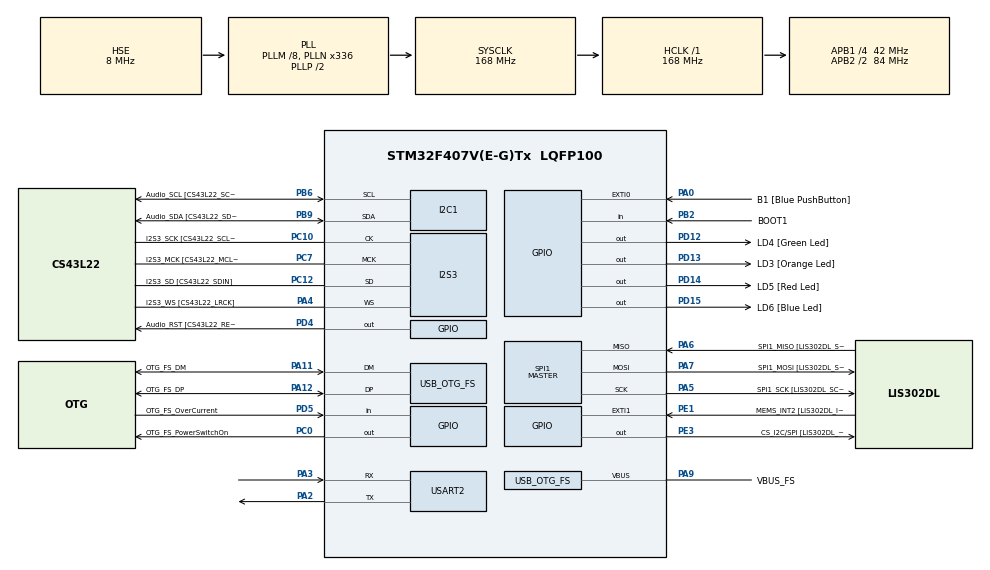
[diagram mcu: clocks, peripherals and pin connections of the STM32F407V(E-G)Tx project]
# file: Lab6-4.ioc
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FREERTOS.BinarySemaphores01=myBinarySem01,Dynamic,NULL
FREERTOS.Tasks01=defaultTask,0,128,StartDefaultTask,Default,NULL
I2S3.AudioFreq-Half_Duplex_Master=I2S_AUDIOFREQ_96K
I2S3.ErrorAudioFreq=-2.34 %
I2S3.ErrorAudioFreq-Half_Duplex_Master=0.8 %
I2S3.FullDuplexMode=I2S_FULLDUPLEXMODE_DISABLE
I2S3.Instance=SPI$Index
I2S3.RealAudioFreq=93.75 KHz
I2S3.RealAudioFreq-Half_Duplex_Master=96.774 KHz
I2S3.VirtualMode=I2S_MODE_MASTER
Mcu.Family=STM32F4
Mcu.Name=STM32F407V(E-G)Tx
Mcu.Package=LQFP100
NVIC.OTG_FS_IRQn=true\:5\:0\:false\:false\:true\:true\:true\:true
NVIC.PriorityGroup=NVIC_PRIORITYGROUP_4
PA0-WKUP.GPIO_Label=B1 [Blue PushButton]
PA0-WKUP.GPIO_ModeDefaultEXTI=GPIO_MODE_EVT_RISING
PA0-WKUP.GPIO_PuPd=GPIO_NOPULL
PA0-WKUP.Signal=GPXTI0
PA10.GPIO_Label=OTG_FS_ID
PA10.GPIO_Mode=GPIO_MODE_AF_PP
PA10.GPIO_PuPd=GPIO_NOPULL
PA10.GPIO_Speed=GPIO_SPEED_FREQ_LOW
PA10.Signal=USB_OTG_FS_ID
PA11.GPIO_Label=OTG_FS_DM
PA11.GPIO_Mode=GPIO_MODE_AF_PP
PA11.GPIO_PuPd=GPIO_NOPULL
PA11.GPIO_Speed=GPIO_SPEED_FREQ_LOW
PA11.Mode=Host_Only
PA11.Signal=USB_OTG_FS_DM
PA12.GPIO_Label=OTG_FS_DP
PA12.GPIO_Mode=GPIO_MODE_AF_PP
PA12.GPIO_PuPd=GPIO_NOPULL
PA12.GPIO_Speed=GPIO_SPEED_FREQ_LOW
PA12.Mode=Host_Only
PA12.Signal=USB_OTG_FS_DP
PA13.GPIO_Label=SWDIO
PA13.Mode=Serial_Wire
PA13.Signal=SYS_JTMS-SWDIO
PA14.GPIO_Label=SWCLK
PA14.Mode=Serial_Wire
PA14.Signal=SYS_JTCK-SWCLK
PA2.Mode=Asynchronous
PA2.Signal=USART2_TX
PA3.Mode=Asynchronous
PA3.Signal=USART2_RX
PA4.GPIO_Label=I2S3_WS [CS43L22_LRCK]
PA4.GPIO_Mode=GPIO_MODE_AF_PP
PA4.GPIO_PuPd=GPIO_NOPULL
PA4.GPIO_Speed=GPIO_SPEED_FREQ_LOW
PA4.Mode=Half_Duplex_Master
PA4.Signal=I2S3_WS
PA5.GPIO_Label=SPI1_SCK [LIS302DL_SCL/SPC]
PA5.GPIO_Mode=GPIO_MODE_AF_PP
PA5.GPIO_PuPd=GPIO_NOPULL
PA5.GPIO_Speed=GPIO_SPEED_FREQ_LOW
PA5.Mode=Full_Duplex_Master
PA5.Signal=SPI1_SCK
PA6.GPIO_Label=SPI1_MISO [LIS302DL_SDO]
PA6.GPIO_Mode=GPIO_MODE_AF_PP
PA6.GPIO_PuPd=GPIO_NOPULL
PA6.GPIO_Speed=GPIO_SPEED_FREQ_LOW
PA6.Mode=Full_Duplex_Master
PA6.Signal=SPI1_MISO
PA7.GPIO_Label=SPI1_MOSI [LIS302DL_SDA/SDI/SDO]
PA7.GPIO_Mode=GPIO_MODE_AF_PP
PA7.GPIO_PuPd=GPIO_NOPULL
PA7.GPIO_Speed=GPIO_SPEED_FREQ_LOW
PA7.Mode=Full_Duplex_Master
PA7.Signal=SPI1_MOSI
PA9.GPIO_Label=VBUS_FS
PA9.GPIO_Mode=GPIO_MODE_INPUT
PA9.GPIO_PuPd=GPIO_NOPULL
PA9.Mode=Activate_VBUS
PA9.Signal=USB_OTG_FS_VBUS
PB10.GPIO_Label=CLK_IN [MP45DT02_CLK]
PB10.GPIO_Mode=GPIO_MODE_AF_PP
PB10.GPIO_PuPd=GPIO_NOPULL
PB10.GPIO_Speed=GPIO_SPEED_FREQ_LOW
PB10.Signal=I2S2_CK
PB2.GPIO_Label=BOOT1
PB2.GPIO_Mode=GPIO_MODE_INPUT
PB2.GPIO_PuPd=GPIO_NOPULL
PB2.Signal=GPIO_Input
PB3.GPIO_Label=SWO
PB3.Signal=SYS_JTDO-SWO
PB6.GPIO_Label=Audio_SCL [CS43L22_SCL]
PB6.GPIO_Mode=GPIO_MODE_AF_OD
PB6.GPIO_PuPd=GPIO_NOPULL
PB6.GPIO_Speed=GPIO_SPEED_FREQ_LOW
PB6.Mode=I2C
PB6.Signal=I2C1_SCL
PB9.GPIO_Label=Audio_SDA [CS43L22_SDA]
PB9.GPIO_Mode=GPIO_MODE_AF_OD
PB9.GPIO_PuPd=GPIO_NOPULL
PB9.GPIO_Speed=GPIO_SPEED_FREQ_LOW
PB9.Mode=I2C
PB9.Signal=I2C1_SDA
PC0.GPIO_Label=OTG_FS_PowerSwitchOn
PC0.GPIO_PuPd=GPIO_NOPULL
PC0.GPIO_Speed=GPIO_SPEED_FREQ_LOW
PC0.PinState=GPIO_PIN_SET
PC0.Signal=GPIO_Output
PC10.GPIO_Label=I2S3_SCK [CS43L22_SCLK]
PC10.GPIO_Mode=GPIO_MODE_AF_PP
PC10.GPIO_PuPd=GPIO_NOPULL
PC10.GPIO_Speed=GPIO_SPEED_FREQ_LOW
PC10.Mode=Half_Duplex_Master
PC10.Signal=I2S3_CK
PC12.GPIO_Label=I2S3_SD [CS43L22_SDIN]
PC12.GPIO_Mode=GPIO_MODE_AF_PP
PC12.GPIO_PuPd=GPIO_NOPULL
PC12.GPIO_Speed=GPIO_SPEED_FREQ_LOW
PC12.Mode=Half_Duplex_Master
PC12.Signal=I2S3_SD
PC14-OSC32_IN.GPIO_Label=PC14-OSC32_IN
PC14-OSC32_IN.Mode=LSE-External-Oscillator
PC14-OSC32_IN.Signal=RCC_OSC32_IN
PC15-OSC32_OUT.GPIO_Label=PC15-OSC32_OUT
PC15-OSC32_OUT.Mode=LSE-External-Oscillator
PC15-OSC32_OUT.Signal=RCC_OSC32_OUT
PC3.GPIO_Label=PDM_OUT [MP45DT02_DOUT]
PC3.GPIO_Mode=GPIO_MODE_AF_PP
PC3.GPIO_PuPd=GPIO_NOPULL
PC3.GPIO_Speed=GPIO_SPEED_FREQ_LOW
PC3.Signal=I2S2_SD
PC7.GPIO_Label=I2S3_MCK [CS43L22_MCLK]
PC7.GPIO_Mode=GPIO_MODE_AF_PP
PC7.GPIO_PuPd=GPIO_NOPULL
PC7.GPIO_Speed=GPIO_SPEED_FREQ_LOW
PC7.Mode=Master_Clock_Activated
PC7.Signal=I2S3_MCK
PD12.GPIO_Label=LD4 [Green Led]
PD12.GPIO_PuPd=GPIO_NOPULL
PD12.GPIO_Speed=GPIO_SPEED_FREQ_LOW
PD12.Signal=GPIO_Output
PD13.GPIO_Label=LD3 [Orange Led]
PD13.GPIO_PuPd=GPIO_NOPULL
PD13.GPIO_Speed=GPIO_SPEED_FREQ_LOW
PD13.Signal=GPIO_Output
PD14.GPIO_Label=LD5 [Red Led]
PD14.GPIO_PuPd=GPIO_NOPULL
PD14.GPIO_Speed=GPIO_SPEED_FREQ_LOW
PD14.Signal=GPIO_Output
PD15.GPIO_Label=LD6 [Blue Led]
PD15.GPIO_PuPd=GPIO_NOPULL
PD15.GPIO_Speed=GPIO_SPEED_FREQ_LOW
PD15.Signal=GPIO_Output
PD4.GPIO_Label=Audio_RST [CS43L22_RESET]
PD4.GPIO_PuPd=GPIO_NOPULL
PD4.GPIO_Speed=GPIO_SPEED_FREQ_LOW
PD4.Signal=GPIO_Output
PD5.GPIO_Label=OTG_FS_OverCurrent
PD5.GPIO_Mode=GPIO_MODE_INPUT
PD5.GPIO_PuPd=GPIO_NOPULL
PD5.Signal=GPIO_Input
PE1.GPIO_Label=MEMS_INT2 [LIS302DL_INT2]
PE1.GPIO_ModeDefaultEXTI=GPIO_MODE_EVT_RISING
PE1.GPIO_PuPd=GPIO_NOPULL
PE1.Signal=GPXTI1
PE3.GPIO_Label=CS_I2C/SPI [LIS302DL_CS_I2C/SPI]
PE3.GPIO_PuPd=GPIO_NOPULL
PE3.GPIO_Speed=GPIO_SPEED_FREQ_LOW
PE3.Signal=GPIO_Output
PH0-OSC_IN.GPIO_Label=PH0-OSC_IN
PH0-OSC_IN.Mode=HSE-External-Oscillator
PH0-OSC_IN.Signal=RCC_OSC_IN
PH1-OSC_OUT.GPIO_Label=PH1-OSC_OUT
PH1-OSC_OUT.Mode=HSE-External-Oscillator
PH1-OSC_OUT.Signal=RCC_OSC_OUT
ProjectManager.HeapSize=0x200
ProjectManager.StackSize=0x400
ProjectManager.TargetToolchain=STM32CubeIDE
RCC.48MHZClocksFreq_Value=48000000
RCC.AHBFreq_Value=168000000
RCC.APB1CLKDivider=RCC_HCLK_DIV4
RCC.APB1Freq_Value=42000000
RCC.APB1TimFreq_Value=84000000
RCC.APB2CLKDivider=RCC_HCLK_DIV2
RCC.APB2Freq_Value=84000000
RCC.APB2TimFreq_Value=168000000
RCC.CortexFreq_Value=168000000
RCC.HCLKFreq_Value=168000000
RCC.HSE_VALUE=8000000
RCC.HSI_VALUE=16000000
RCC.PLLM=8
RCC.PLLN=336
RCC.PLLQ=7
RCC.SYSCLKFreq_VALUE=168000000
RCC.SYSCLKSource=RCC_SYSCLKSOURCE_PLLCLK
RCC.VCOOutputFreq_Value=336000000
SPI1.BaudRatePrescaler-Full_Duplex_Master=SPI_BAUDRATEPRESCALER_2
SPI1.CalculateBaudRate-Full_Duplex_Master=42.0 MBits/s
SPI1.Direction=SPI_DIRECTION_2LINES
SPI1.Mode=SPI_MODE_MASTER
SPI1.Mode-Full_Duplex_Master=SPI_MODE_MASTER
SPI1.VirtualType=VM_MASTER
USART2.VirtualMode=VM_ASYNC
USB_HOST.BSP.number=1
USB_HOST.USBH_HandleTypeDef-CDC_FS=hUsbHostFS
USB_HOST.USBH_USE_OS-CDC_FS=0
USB_HOST.VirtualModeFS=Cdc
USB_HOST0.BSP.STBoard=false
USB_HOST0.BSP.api=Unknown
USB_HOST0.BSP.i2caddr=0
USB_HOST0.BSP.i2creg=0
USB_HOST0.BSP.instance=PC0
USB_HOST0.BSP.ip=GPIO
USB_HOST0.BSP.mode=Output
USB_HOST0.BSP.name=Drive_VBUS_FS
USB_HOST0.BSP.solution=PC0
USB_OTG_FS.VirtualMode=Host_Only
USB_OTG_FS.phy_itface=HCD_PHY_EMBEDDED
VP_FREERTOS_VS_CMSIS_V1.Mode=CMSIS_V1
VP_USB_HOST_VS_USB_HOST_CDC_FS.Mode=CDC_FS
board=STM32F4DISCOVERY

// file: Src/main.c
/* USER CODE BEGIN Header */
/**
  ******************************************************************************
  * @file           : main.c
  * @brief          : Main program body
  ******************************************************************************
  * @attention
  *
  * <h2><center>&copy; Copyright (c) 2019 STMicroelectronics.
  * All rights reserved.</center></h2>
  *
  * This software component is licensed by ST under Ultimate Liberty license
  * SLA0044, the "License"; You may not use this file except in compliance with
  * the License. You may obtain a copy of the License at:
  *                             www.st.com/SLA0044
  *
  ******************************************************************************
  */
/* USER CODE END Header */

#include "main.h"
#include "cmsis_os.h"
#include "usb_host.h"

I2C_HandleTypeDef hi2c1;

I2S_HandleTypeDef hi2s3;

SPI_HandleTypeDef hspi1;

UART_HandleTypeDef huart2;

osThreadId defaultTaskHandle;
osSemaphoreId myBinarySem01Handle;

void SystemClock_Config(void);
static void MX_GPIO_Init(void);
static void MX_I2C1_Init(void);
static void MX_I2S3_Init(void);
static void MX_SPI1_Init(void);
static void MX_USART2_UART_Init(void);
void StartDefaultTask1(void const * argument);
void StartDefaultTask2(void const * argument);
void StartDefaultTask3(void const * argument);
void StartDefaultTask4(void const * argument);
void StartDefaultTask5(void const * argument);
void StartDefaultTask6(void const * argument);
void StartDefaultTask7(void const * argument);

/* USER CODE BEGIN 0 */

typedef struct {
	char msg[20];
} mail_t;

osMailQDef(mail_b, 20, mail_t);
osMailQId mail_b;

/* USER CODE END 0 */

int main(void)
{

  /* MCU Configuration--------------------------------------------------------*/

  /* Reset of all peripherals, Initializes the Flash interface and the Systick. */
  HAL_Init();

  /* Configure the system clock */
  SystemClock_Config();

  /* Initialize all configured peripherals */
  MX_GPIO_Init();
  MX_I2C1_Init();
  MX_I2S3_Init();
  MX_SPI1_Init();
  MX_USART2_UART_Init();

  /* Create the semaphores(s) */
  /* definition and creation of myBinarySem01 */
  osSemaphoreDef(myBinarySem01);
  myBinarySem01Handle = osSemaphoreCreate(osSemaphore(myBinarySem01), 1);

  /* USER CODE BEGIN RTOS_QUEUES */
  /* add queues, ... */
  mail_b = osMailCreate(osMailQ(mail_b), NULL);
  /* USER CODE END RTOS_QUEUES */

  /* Create the thread(s) */
  /* definition and creation of defaultTask */
  osThreadDef(defaultTask1, StartDefaultTask1, osPriorityNormal, 0, 128);
  defaultTaskHandle = osThreadCreate(osThread(defaultTask1), NULL);

  osThreadDef(defaultTask2, StartDefaultTask2, osPriorityNormal, 0, 128);
  defaultTaskHandle = osThreadCreate(osThread(defaultTask2), NULL);

  osThreadDef(defaultTask3, StartDefaultTask3, osPriorityNormal, 0, 128);
  defaultTaskHandle = osThreadCreate(osThread(defaultTask3), NULL);

  osThreadDef(defaultTask4, StartDefaultTask4, osPriorityNormal, 0, 128);
  defaultTaskHandle = osThreadCreate(osThread(defaultTask4), NULL);

  osThreadDef(defaultTask5, StartDefaultTask5, osPriorityNormal, 0, 128);
  defaultTaskHandle = osThreadCreate(osThread(defaultTask5), NULL);

  osThreadDef(defaultTask6, StartDefaultTask6, osPriorityNormal, 0, 128);
  defaultTaskHandle = osThreadCreate(osThread(defaultTask6), NULL);

  osThreadDef(defaultTask7, StartDefaultTask7, osPriorityNormal, 0, 128);
  defaultTaskHandle = osThreadCreate(osThread(defaultTask7), NULL);

  /* Start scheduler */
  osKernelStart();

  /* We should never get here as control is now taken by the scheduler */

  /* Infinite loop */
  while (1)
  {

  }
}

void SystemClock_Config(void)
{
  RCC_OscInitTypeDef RCC_OscInitStruct = {0};
  RCC_ClkInitTypeDef RCC_ClkInitStruct = {0};
  RCC_PeriphCLKInitTypeDef PeriphClkInitStruct = {0};

  /** Configure the main internal regulator output voltage
  */
  __HAL_RCC_PWR_CLK_ENABLE();
  __HAL_PWR_VOLTAGESCALING_CONFIG(PWR_REGULATOR_VOLTAGE_SCALE1);
  /** Initializes the CPU, AHB and APB busses clocks
  */
  RCC_OscInitStruct.OscillatorType = RCC_OSCILLATORTYPE_HSE;
  RCC_OscInitStruct.HSEState = RCC_HSE_ON;
  RCC_OscInitStruct.PLL.PLLState = RCC_PLL_ON;
  RCC_OscInitStruct.PLL.PLLSource = RCC_PLLSOURCE_HSE;
  RCC_OscInitStruct.PLL.PLLM = 8;
  RCC_OscInitStruct.PLL.PLLN = 336;
  RCC_OscInitStruct.PLL.PLLP = RCC_PLLP_DIV2;
  RCC_OscInitStruct.PLL.PLLQ = 7;
  if (HAL_RCC_OscConfig(&RCC_OscInitStruct) != HAL_OK)
  {
    Error_Handler();
  }
  /** Initializes the CPU, AHB and APB busses clocks
  */
  RCC_ClkInitStruct.ClockType = RCC_CLOCKTYPE_HCLK|RCC_CLOCKTYPE_SYSCLK
                              |RCC_CLOCKTYPE_PCLK1|RCC_CLOCKTYPE_PCLK2;
  RCC_ClkInitStruct.SYSCLKSource = RCC_SYSCLKSOURCE_PLLCLK;
  RCC_ClkInitStruct.AHBCLKDivider = RCC_SYSCLK_DIV1;
  RCC_ClkInitStruct.APB1CLKDivider = RCC_HCLK_DIV4;
  RCC_ClkInitStruct.APB2CLKDivider = RCC_HCLK_DIV2;

  if (HAL_RCC_ClockConfig(&RCC_ClkInitStruct, FLASH_LATENCY_5) != HAL_OK)
  {
    Error_Handler();
  }
  PeriphClkInitStruct.PeriphClockSelection = RCC_PERIPHCLK_I2S;
  PeriphClkInitStruct.PLLI2S.PLLI2SN = 192;
  PeriphClkInitStruct.PLLI2S.PLLI2SR = 2;
  if (HAL_RCCEx_PeriphCLKConfig(&PeriphClkInitStruct) != HAL_OK)
  {
    Error_Handler();
  }
}

static void MX_I2C1_Init(void)
{

  hi2c1.Instance = I2C1;
  hi2c1.Init.ClockSpeed = 100000;
  hi2c1.Init.DutyCycle = I2C_DUTYCYCLE_2;
  hi2c1.Init.OwnAddress1 = 0;
  hi2c1.Init.AddressingMode = I2C_ADDRESSINGMODE_7BIT;
  hi2c1.Init.DualAddressMode = I2C_DUALADDRESS_DISABLE;
  hi2c1.Init.OwnAddress2 = 0;
  hi2c1.Init.GeneralCallMode = I2C_GENERALCALL_DISABLE;
  hi2c1.Init.NoStretchMode = I2C_NOSTRETCH_DISABLE;
  if (HAL_I2C_Init(&hi2c1) != HAL_OK)
  {
    Error_Handler();
  }

}

static void MX_I2S3_Init(void)
{

  hi2s3.Instance = SPI3;
  hi2s3.Init.Mode = I2S_MODE_MASTER_TX;
  hi2s3.Init.Standard = I2S_STANDARD_PHILIPS;
  hi2s3.Init.DataFormat = I2S_DATAFORMAT_16B;
  hi2s3.Init.MCLKOutput = I2S_MCLKOUTPUT_ENABLE;
  hi2s3.Init.AudioFreq = I2S_AUDIOFREQ_96K;
  hi2s3.Init.CPOL = I2S_CPOL_LOW;
  hi2s3.Init.ClockSource = I2S_CLOCK_PLL;
  hi2s3.Init.FullDuplexMode = I2S_FULLDUPLEXMODE_DISABLE;
  if (HAL_I2S_Init(&hi2s3) != HAL_OK)
  {
    Error_Handler();
  }

}

static void MX_SPI1_Init(void)
{

  /* SPI1 parameter configuration*/
  hspi1.Instance = SPI1;
  hspi1.Init.Mode = SPI_MODE_MASTER;
  hspi1.Init.Direction = SPI_DIRECTION_2LINES;
  hspi1.Init.DataSize = SPI_DATASIZE_8BIT;
  hspi1.Init.CLKPolarity = SPI_POLARITY_LOW;
  hspi1.Init.CLKPhase = SPI_PHASE_1EDGE;
  hspi1.Init.NSS = SPI_NSS_SOFT;
  hspi1.Init.BaudRatePrescaler = SPI_BAUDRATEPRESCALER_2;
  hspi1.Init.FirstBit = SPI_FIRSTBIT_MSB;
  hspi1.Init.TIMode = SPI_TIMODE_DISABLE;
  hspi1.Init.CRCCalculation = SPI_CRCCALCULATION_DISABLE;
  hspi1.Init.CRCPolynomial = 10;
  if (HAL_SPI_Init(&hspi1) != HAL_OK)
  {
    Error_Handler();
  }

}

static void MX_USART2_UART_Init(void)
{

  huart2.Instance = USART2;
  huart2.Init.BaudRate = 115200;
  huart2.Init.WordLength = UART_WORDLENGTH_8B;
  huart2.Init.StopBits = UART_STOPBITS_1;
  huart2.Init.Parity = UART_PARITY_NONE;
  huart2.Init.Mode = UART_MODE_TX_RX;
  huart2.Init.HwFlowCtl = UART_HWCONTROL_NONE;
  huart2.Init.OverSampling = UART_OVERSAMPLING_16;
  if (HAL_UART_Init(&huart2) != HAL_OK)
  {
    Error_Handler();
  }

}

static void MX_GPIO_Init(void)
{
  GPIO_InitTypeDef GPIO_InitStruct = {0};

  /* GPIO Ports Clock Enable */
  __HAL_RCC_GPIOE_CLK_ENABLE();
  __HAL_RCC_GPIOC_CLK_ENABLE();
  __HAL_RCC_GPIOH_CLK_ENABLE();
  __HAL_RCC_GPIOA_CLK_ENABLE();
  __HAL_RCC_GPIOB_CLK_ENABLE();
  __HAL_RCC_GPIOD_CLK_ENABLE();

  /*Configure GPIO pin Output Level */
  HAL_GPIO_WritePin(CS_I2C_SPI_GPIO_Port, CS_I2C_SPI_Pin, GPIO_PIN_RESET);

  /*Configure GPIO pin Output Level */
  HAL_GPIO_WritePin(OTG_FS_PowerSwitchOn_GPIO_Port, OTG_FS_PowerSwitchOn_Pin, GPIO_PIN_SET);

  /*Configure GPIO pin Output Level */
  HAL_GPIO_WritePin(GPIOD, LD4_Pin|LD3_Pin|LD5_Pin|LD6_Pin
                          |Audio_RST_Pin, GPIO_PIN_RESET);

  /*Configure GPIO pin : CS_I2C_SPI_Pin */
  GPIO_InitStruct.Pin = CS_I2C_SPI_Pin;
  GPIO_InitStruct.Mode = GPIO_MODE_OUTPUT_PP;
  GPIO_InitStruct.Pull = GPIO_NOPULL;
  GPIO_InitStruct.Speed = GPIO_SPEED_FREQ_LOW;
  HAL_GPIO_Init(CS_I2C_SPI_GPIO_Port, &GPIO_InitStruct);

  /*Configure GPIO pin : OTG_FS_PowerSwitchOn_Pin */
  GPIO_InitStruct.Pin = OTG_FS_PowerSwitchOn_Pin;
  GPIO_InitStruct.Mode = GPIO_MODE_OUTPUT_PP;
  GPIO_InitStruct.Pull = GPIO_NOPULL;
  GPIO_InitStruct.Speed = GPIO_SPEED_FREQ_LOW;
  HAL_GPIO_Init(OTG_FS_PowerSwitchOn_GPIO_Port, &GPIO_InitStruct);

  /*Configure GPIO pin : PDM_OUT_Pin */
  GPIO_InitStruct.Pin = PDM_OUT_Pin;
  GPIO_InitStruct.Mode = GPIO_MODE_AF_PP;
  GPIO_InitStruct.Pull = GPIO_NOPULL;
  GPIO_InitStruct.Speed = GPIO_SPEED_FREQ_LOW;
  GPIO_InitStruct.Alternate = GPIO_AF5_SPI2;
  HAL_GPIO_Init(PDM_OUT_GPIO_Port, &GPIO_InitStruct);

  /*Configure GPIO pin : B1_Pin */
  GPIO_InitStruct.Pin = B1_Pin;
  GPIO_InitStruct.Mode = GPIO_MODE_EVT_RISING;
  GPIO_InitStruct.Pull = GPIO_NOPULL;
  HAL_GPIO_Init(B1_GPIO_Port, &GPIO_InitStruct);

  /*Configure GPIO pin : BOOT1_Pin */
  GPIO_InitStruct.Pin = BOOT1_Pin;
  GPIO_InitStruct.Mode = GPIO_MODE_INPUT;
  GPIO_InitStruct.Pull = GPIO_NOPULL;
  HAL_GPIO_Init(BOOT1_GPIO_Port, &GPIO_InitStruct);

  /*Configure GPIO pin : CLK_IN_Pin */
  GPIO_InitStruct.Pin = CLK_IN_Pin;
  GPIO_InitStruct.Mode = GPIO_MODE_AF_PP;
  GPIO_InitStruct.Pull = GPIO_NOPULL;
  GPIO_InitStruct.Speed = GPIO_SPEED_FREQ_LOW;
  GPIO_InitStruct.Alternate = GPIO_AF5_SPI2;
  HAL_GPIO_Init(CLK_IN_GPIO_Port, &GPIO_InitStruct);

  /*Configure GPIO pins : LD4_Pin LD3_Pin LD5_Pin LD6_Pin
                           Audio_RST_Pin */
  GPIO_InitStruct.Pin = LD4_Pin|LD3_Pin|LD5_Pin|LD6_Pin
                          |Audio_RST_Pin;
  GPIO_InitStruct.Mode = GPIO_MODE_OUTPUT_PP;
  GPIO_InitStruct.Pull = GPIO_NOPULL;
  GPIO_InitStruct.Speed = GPIO_SPEED_FREQ_LOW;
  HAL_GPIO_Init(GPIOD, &GPIO_InitStruct);

  /*Configure GPIO pin : OTG_FS_OverCurrent_Pin */
  GPIO_InitStruct.Pin = OTG_FS_OverCurrent_Pin;
  GPIO_InitStruct.Mode = GPIO_MODE_INPUT;
  GPIO_InitStruct.Pull = GPIO_NOPULL;
  HAL_GPIO_Init(OTG_FS_OverCurrent_GPIO_Port, &GPIO_InitStruct);

  /*Configure GPIO pin : MEMS_INT2_Pin */
  GPIO_InitStruct.Pin = MEMS_INT2_Pin;
  GPIO_InitStruct.Mode = GPIO_MODE_EVT_RISING;
  GPIO_InitStruct.Pull = GPIO_NOPULL;
  HAL_GPIO_Init(MEMS_INT2_GPIO_Port, &GPIO_InitStruct);

}

void StartDefaultTask1(void const * argument)
{

  /* init code for USB_HOST */
  MX_USB_HOST_Init();

  /* USER CODE BEGIN 5 */
  /* Infinite loop */
  for(;;)
  {
	 HAL_GPIO_TogglePin(GPIOD, GPIO_PIN_12);
    osDelay(25);
  }
  /* USER CODE END 5 */
}

void StartDefaultTask2(void const * argument)
{

  /* init code for USB_HOST */
  MX_USB_HOST_Init();

  /* USER CODE BEGIN 5 */
  /* Infinite loop */
  for(;;)
  {
	  HAL_GPIO_TogglePin(GPIOD, GPIO_PIN_13);
    osDelay(20);
  }
  /* USER CODE END 5 */
}

void StartDefaultTask3(void const * argument)
{

  /* init code for USB_HOST */
  MX_USB_HOST_Init();

  /* USER CODE BEGIN 5 */
  /* Infinite loop */
  for(;;)
  {
	  HAL_GPIO_TogglePin(GPIOD, GPIO_PIN_14);
    osDelay(64);
  }
  /* USER CODE END 5 */
}

void StartDefaultTask4(void const * argument)
{

  /* init code for USB_HOST */
  MX_USB_HOST_Init();

  /* USER CODE BEGIN 5 */
  /* Infinite loop */
  for(;;)
  {

	  HAL_GPIO_TogglePin(GPIOD, GPIO_PIN_15);
    osDelay(32);
  }
  /* USER CODE END 5 */
}

void StartDefaultTask5(void const * argument)
{

	char buf[20] = "HELLO\r\n";
  /* init code for USB_HOST */
  MX_USB_HOST_Init();

  /* USER CODE BEGIN 5 */
  /* Infinite loop */
  for(;;)
  {

	  mail_t *mail = (mail_t *) osMailAlloc(mail_b, osWaitForever);
	  if (mail != NULL) {
		  //osSemaphoreWait(myBinarySem01Handle, osWaitForever);
		  sprintf(mail->msg, buf);
		  osMailPut(mail_b, mail);
		  //osSemaphoreRelease(myBinarySem01Handle);
	  }
	  //osThreadYield();
	  osDelay(100);
  }
  /* USER CODE END 5 */
}

void StartDefaultTask6(void const * argument)
{

	char buf[20] = "WORLD\r\n";

  /* init code for USB_HOST */
  MX_USB_HOST_Init();

  /* USER CODE BEGIN 5 */
  /* Infinite loop */
  for(;;)
  {

	  mail_t *mail = (mail_t *) osMailAlloc(mail_b, osWaitForever);
	  if (mail != NULL) {
		  //osSemaphoreWait(myBinarySem01Handle, osWaitForever);
		  sprintf(mail->msg,buf);
		  osMailPut(mail_b, mail);
		  //osSemaphoreRelease(myBinarySem01Handle);
	  }
	  //osThreadYield();
	  osDelay(100);
  }
  /* USER CODE END 5 */
}

void StartDefaultTask7(void const * argument)
{

    char res[20];

  /* init code for USB_HOST */
  MX_USB_HOST_Init();

  /* USER CODE BEGIN 5 */
  /* Infinite loop */
  for(;;)
  {

	  //mail_b = osMailCreate(osMailQ(mail_b), NULL);

	  osEvent evt = osMailGet(mail_b, osWaitForever);
	  if (evt.status == osEventMail) {
		  mail_t *msg = (mail_t *) evt.value.p;
		  sprintf(res, msg->msg);
		  HAL_UART_Transmit(&huart2, res, sizeof(res), 1000);

		  osMailFree(mail_b, msg);

	  }
	 // osThreadYield();
	  osDelay(100);

  }
  /* USER CODE END 5 */
}

void Error_Handler(void)
{
}

/************************ (C) COPYRIGHT STMicroelectronics *****END OF FILE****/
